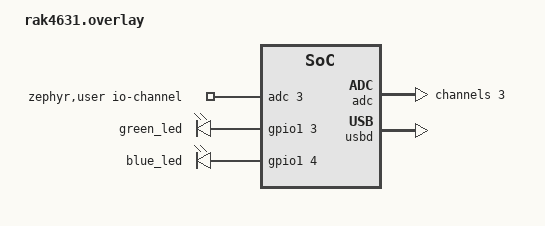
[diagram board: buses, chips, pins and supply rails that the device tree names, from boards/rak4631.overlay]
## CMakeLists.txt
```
cmake_minimum_required(VERSION 3.20.0)

find_package(Zephyr REQUIRED HINTS $ENV{ZEPHYR_BASE})
project(ble_bridge)

target_sources(app PRIVATE
    src/main.c
    src/g7_protocol.c
    src/g7_config.c
    src/g7_shell.c
    src/g7_jpake.c
    src/g7_auth.c
    src/g7_history.c
    src/g7_cgms.c
    src/g7_ui.c
    src/g7_led.c
    src/g7_battery.c
    src/g7_certstore.c
)
```

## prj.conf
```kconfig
# BLE central role: scan for the Dexcom G7 transmitter and connect to it.
CONFIG_BT=y
CONFIG_BT_CENTRAL=y
# Active scanning otherwise uses a fresh random address, and the controller then
# refuses to switch back to ours for advertising to the phone while it scans.
CONFIG_BT_SCAN_WITH_IDENTITY=y
CONFIG_BT_GATT_CLIENT=y
CONFIG_BT_GATT_DM=y

# BLE peripheral role at the same time: standard CGM service (0x181F) for
# xDrip+'s GluPro collector (src/g7_cgms.c). One link to the G7, one to the phone;
# bonds for the sensor and the phone (plus one spare for a sensor change).
CONFIG_BT_PERIPHERAL=y
CONFIG_BT_DEVICE_NAME="G7 Bridge"
CONFIG_BT_MAX_CONN=2
CONFIG_BT_MAX_PAIRED=4
CONFIG_BT_DIS=y
# Maximum radio power of the nRF52840 (+8 dBm, default 0) for every role: the
# phone may be a room or two away while the bridge sits in a pocket by the sensor.
CONFIG_BT_CTLR_TX_PWR_PLUS_8=y
# HCI Read RSSI (range test on the phone page); off by default in the SoftDevice Controller.
CONFIG_BT_CTLR_CONN_RSSI=y
CONFIG_BT_DIS_MODEL="G7 Bridge"
CONFIG_BT_DIS_MANUF="DIY"
# xDrip+ GluPro puts every one of these into a ConcurrentHashMap straight from
# getCharacteristic(); a missing one is a null value and crashes xDrip+. Keep all
# six (manufacturer, model, serial, firmware, hardware, system ID) present.
CONFIG_BT_DIS_SERIAL_NUMBER=y
CONFIG_BT_DIS_SERIAL_NUMBER_STR="0001"
CONFIG_BT_DIS_FW_REV=y
CONFIG_BT_DIS_FW_REV_STR="0.2-dev"
CONFIG_BT_DIS_HW_REV=y
CONFIG_BT_DIS_HW_REV_STR="RAK4631"
CONFIG_BT_DIS_SYSTEM_ID=y

# BLE-level bonding with the G7 is plain "Just Works"; the pairing code is used
# by an app-layer EC-JPAKE on top of GATT instead -- see PROTOCOL_RESEARCH.md 2a.
CONFIG_BT_SMP=y
# Let a phone that lost its bond (xDrip+ reinstalled, "forget device") pair again
# with Just Works instead of being refused with "auth requirements" until the old
# bond is deleted here by hand (`g7 unpair_phone`). Trade-off: a device spoofing
# the phone's address could replace that bond -- acceptable for a Just Works link.
CONFIG_BT_SMP_ALLOW_UNAUTH_OVERWRITE=y
# pairing_accept() in main.c: phones may only bond in the first 10 min after power-on.
CONFIG_BT_SMP_APP_PAIRING_ACCEPT=y
CONFIG_BT_BONDABLE=y

# Persist bonding info (BLE keys) across reboots so we don't have to re-pair with
# the sensor every time the board resets.
CONFIG_FLASH=y
CONFIG_FLASH_PAGE_LAYOUT=y
CONFIG_FLASH_MAP=y
CONFIG_NVS=y
CONFIG_SETTINGS=y
CONFIG_BT_SETTINGS=y

CONFIG_LOG=y
CONFIG_LOG_DEFAULT_LEVEL=3
CONFIG_PRINTK=y

# `g7 set_id`/`get_id`/`clear_id` commands, on the same USB console as the logs.
CONFIG_SHELL=y

CONFIG_MAIN_STACK_SIZE=4096

# bt_gatt_dm (GATT discovery library) allocates its attribute cache from the heap.
CONFIG_HEAP_MEM_POOL_SIZE=4096

# EC-JPAKE (src/g7_jpake.c): P-256 point math, SHA-256 and AES-128 from TinyCrypt,
# which the Bluetooth host already pulls in. ECC_DSA also builds ecc.c and will be
# needed for the certificate-signing step later.
CONFIG_TINYCRYPT=y
CONFIG_TINYCRYPT_ECC_DSA=y
CONFIG_TINYCRYPT_SHA256=y
CONFIG_TINYCRYPT_AES=y

# `g7 jpake_selftest` runs a few seconds of P-256 math on the shell thread.
CONFIG_SHELL_STACK_SIZE=4096

# Room for bursts (a backfill or a phone's history request logs many lines at
# once). For byte-level auth debugging set g7_auth.c to LOG_LEVEL_DBG.
CONFIG_LOG_BUFFER_SIZE=8192
```

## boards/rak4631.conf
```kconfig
# RAK4631: console on the base board's USB port, UF2 for the Adafruit bootloader.
CONFIG_USB_DEVICE_STACK=y
CONFIG_USB_DEVICE_INITIALIZE_AT_BOOT=y
CONFIG_UART_LINE_CTRL=y
CONFIG_USB_CDC_ACM_LOG_LEVEL_OFF=y
CONFIG_BUILD_OUTPUT_UF2=y
CONFIG_USE_DT_CODE_PARTITION=y
# Battery voltage (src/g7_battery.c)
CONFIG_ADC=y
```

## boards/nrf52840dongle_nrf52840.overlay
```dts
/* Status LED colours for src/g7_led.c: the Dongle's RGB LED (LD2); LD1 stays off. */
/ {
	aliases {
		status-red = &led1_red;
		status-green = &led1_green;
		status-blue = &led1_blue;
	};
};
```

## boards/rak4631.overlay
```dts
/*
 * RAK4631 (WisBlock core) on a RAK19007 base, flashed as UF2 through the Adafruit nRF52
 * bootloader it ships with (SoftDevice S140 6.1.1 below the app, bootloader at the top).
 * Logs and the shell go to the base board's USB port, not the header UART.
 * The BLE antenna must be on the module's BLE u.FL connector, not the LoRa one.
 */
#include <zephyr/dt-bindings/adc/nrf-saadc.h>

/ {
	/* Battery for src/g7_battery.c: VBAT -> 1 M / 1.5 M divider -> P0.05 (AIN3). */
	zephyr,user {
		io-channels = <&adc 3>;
		battery-divider-x1000 = <1667>;
	};

	chosen {
		zephyr,console = &cdc_acm_uart;
		zephyr,shell-uart = &cdc_acm_uart;
		zephyr,code-partition = &code_partition;
	};

	/* Status LED for src/g7_led.c: the base board has only green and blue, no red. */
	aliases {
		status-green = &green_led;
		status-blue = &blue_led;
	};
};

&adc {
	#address-cells = <1>;
	#size-cells = <0>;

	channel@3 {
		reg = <3>;
		zephyr,gain = "ADC_GAIN_1_6";
		zephyr,reference = "ADC_REF_INTERNAL";
		/* 600 k source impedance: needs the long acquisition time. */
		zephyr,acquisition-time = <ADC_ACQ_TIME(ADC_ACQ_TIME_MICROSECONDS, 40)>;
		zephyr,input-positive = <NRF_SAADC_AIN3>;
		zephyr,resolution = <12>;
		zephyr,oversampling = <4>;
	};
};

/* Zephyr's board file has them active-low; on the RAK19007 base they light on a high pin. */
&green_led {
	gpios = <&gpio1 3 GPIO_ACTIVE_HIGH>;
};

&blue_led {
	gpios = <&gpio1 4 GPIO_ACTIVE_HIGH>;
};

&flash0 {
	/delete-node/ partitions;

	partitions {
		compatible = "fixed-partitions";
		#address-cells = <1>;
		#size-cells = <1>;

		sd_partition: partition@0 {
			label = "softdevice";
			reg = <0x00000000 0x00026000>;
		};

		code_partition: partition@26000 {
			label = "code_partition";
			reg = <0x00026000 0x000c6000>;
		};

		storage_partition: partition@ec000 {
			label = "storage";
			reg = <0x000ec000 0x00008000>;
		};

		boot_partition: partition@f4000 {
			label = "adafruit_boot";
			reg = <0x000f4000 0x0000c000>;
		};
	};
};

zephyr_udc0: &usbd {
	compatible = "nordic,nrf-usbd";
	status = "okay";

	cdc_acm_uart: cdc-acm-uart {
		compatible = "zephyr,cdc-acm-uart";
	};
};
```

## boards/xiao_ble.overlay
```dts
/* Status LED colours for src/g7_led.c: the XIAO's RGB LED. */
/ {
	aliases {
		status-red = &led0;
		status-green = &led1;
		status-blue = &led2;
	};
};
```

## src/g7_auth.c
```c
/*
 * Dexcom G7 application-layer authentication state machine (see g7_auth.h).
 * State names and transitions follow libkeks' Plugin.java so the two can be
 * compared side by side; comments quote the Java state they correspond to.
 */
#include "g7_auth.h"

#include <errno.h>
#include <string.h>

#include <zephyr/kernel.h>
#include <zephyr/logging/log.h>
#include <zephyr/random/random.h>
#include <zephyr/sys/byteorder.h>

#include "g7_certstore.h"
#include "g7_config.h"
#include "g7_jpake.h"
#include "g7_protocol.h"

LOG_MODULE_REGISTER(g7_auth, LOG_LEVEL_INF);

#define CHUNK_LEN        20
#define CHUNK_GAP_MS     40  /* xDrip+ doNext(): threadSleep(40) between chunks */
#define AFTER_DATA_MS    500 /* ... and threadSleep(500) before the command */
#define STEP_TIMEOUT     K_SECONDS(15)
#define RX_MAX           64

enum state {
	ST_IDLE,
	ST_ROUND1,         /* Round1: sent 0A 00, collecting the sensor's round 1 packet */
	ST_ROUND2,         /* Round2 */
	ST_ROUND3,         /* Round3 */
	ST_REQUEST_AUTH,   /* RequestAuth: sent 02 <token> <slot> */
	ST_CHALLENGE_REPLY,/* ChallengeReply: sent 04 <hash>, waiting for 05 status */
	ST_CERT_INFO_A,    /* SendCertificate1: sent 0B 00 <len>, waiting for 0B reply */
	ST_CERT_DATA_A,    /* SendCertificate1out: sent cert A, collecting the sensor's */
	ST_CERT_INFO_B,    /* SendCertificate2 */
	ST_CERT_DATA_B,    /* SendCertificate2out */
	ST_SIGN_CHALLENGE, /* SendKeyChallenge: sent 0C <16 random>, waiting for its challenge */
	ST_SIGN_REPLY,     /* SendKeyChallengeOut: sent signature + 0D 00 02 */
	ST_KEEPALIVE,      /* GetData/Pairing: sent 06 19, waiting for the bond trigger */
};

enum ev_type {
	EV_START,
	EV_RX_AUTH,
	EV_RX_EXTRA,
	EV_ABORT,
};

struct ev {
	uint8_t type;
	uint8_t len;
	uint8_t data[RX_MAX];
};

/* A 160-byte round packet arrives as 8+ notifications, a certificate as ~25. */
K_MSGQ_DEFINE(auth_q, sizeof(struct ev), 40, 4);

static const struct g7_auth_ops *ops;

static struct {
	enum state st;
	bt_addr_le_t peer;
	bool saved_key;       /* key came from settings, JPAKE skipped */
	bool check_code;      /* ignore any saved key: prove the pairing code */
	bool token_mismatch;  /* sensor's 03 reply did not match our key */
	uint8_t key[G7_JPAKE_KEY_LEN];
	struct g7_jpake jp;
	uint8_t acc[G7_JPAKE_PACKET_LEN];
	size_t acc_len;
	size_t cert_expected;
	size_t cert_rx;
	uint8_t token[G7_CHALLENGE_LEN];
} s;

/* Sensor replies to 06 19 that mean "create the BLE bond now" (Plugin.bondNow). */
static const uint8_t bond_trigger[][3] = {{0x06, 0x19}, {0xff, 0x06, 0x01}, {0x06, 0x00}};
static const uint8_t bond_trigger_len[] = {2, 3, 2};

static const uint8_t keepalive[] = {0x06, 0x19};
static const uint8_t challenge_out[] = {0x0d, 0x00, 0x02};

const char *g7_auth_result_str(enum g7_auth_result result)
{
	switch (result) {
	case G7_AUTH_OK:
		return "authenticated + bonded";
	case G7_AUTH_BOND_NOW:
		return "authenticated, bond requested";
	case G7_AUTH_WRONG_CODE:
		return "wrong pairing code (or an old sensor nearby)";
	case G7_AUTH_NO_CERTS:
		return "sensor needs app certificates, none loaded (setup page)";
	case G7_AUTH_NOT_BONDED:
		return "sensor does not know us -- local bond must go";
	case G7_AUTH_NEEDS_REPAIR:
		return "sensor needs a full re-pair -- dropping our bond";
	default:
		return "protocol error";
	}
}

/* ---- sending -------------------------------------------------------------- */

static int send_extra(const uint8_t *data, size_t len)
{
	for (size_t off = 0; off < len; off += CHUNK_LEN) {
		int err = ops->write_extra(data + off, MIN(CHUNK_LEN, len - off));

		if (err) {
			LOG_ERR("ExtraData write failed (err %d)", err);
			return err;
		}
		k_msleep(CHUNK_GAP_MS);
	}
	k_msleep(AFTER_DATA_MS);
	return 0;
}

static int send_auth(const uint8_t *data, size_t len)
{
	LOG_HEXDUMP_DBG(data, len, "auth tx");

	int err = ops->write_auth(data, len);

	if (err) {
		LOG_ERR("authentication write failed (err %d)", err);
	}
	return err;
}

/* sequencePacket(): optional 160-byte packet on ExtraData, then 0A <round-1>. */
static int send_round(int next_round_param, const uint8_t *pkt)
{
	const uint8_t cmd[] = {0x0a, next_round_param};

	if (pkt) {
		int err = send_extra(pkt, G7_JPAKE_PACKET_LEN);

		if (err) {
			return err;
		}
	}
	return send_auth(cmd, sizeof(cmd));
}

/* AuthRequestTxMessage2: 02 <8-byte token> <slot>. */
static int send_auth_request(void)
{
	uint8_t msg[2 + G7_CHALLENGE_LEN];

	sys_csrand_get(s.token, sizeof(s.token));
	msg[0] = 0x02;
	memcpy(msg + 1, s.token, sizeof(s.token));
	/* Always slot 2, as Juggluco does. xDrip+ can switch to 1 once bonded
	 * (needsBonding()), but a bonded G7 drops the link on that (2026-09-28).
	 */
	msg[1 + G7_CHALLENGE_LEN] = 0x02;
	return send_auth(msg, sizeof(msg));
}

/* ---- finishing ------------------------------------------------------------ */

static void finish(enum g7_auth_result result)
{
	if (s.st == ST_IDLE) {
		return;
	}
	LOG_INF("Authentication finished: %s", g7_auth_result_str(result));
	s.st = ST_IDLE;
	memset(&s.jp, 0, sizeof(s.jp));
	ops->finished(result);
}

static void save_key(void)
{
	if (!s.saved_key) {
		int err = g7_config_set_key(&s.peer, s.key);

		if (err) {
			LOG_WRN("Could not persist session key (err %d)", err);
		} else {
			s.saved_key = true;
		}
	}
}

/* ---- JPAKE rounds (ExtraData) ---------------------------------------------- */

static void on_round_packet(int round)
{
	static uint8_t pkt[G7_JPAKE_PACKET_LEN];
	int err = g7_jpake_read_round(&s.jp, round, s.acc);

	s.acc_len = 0;
	if (err) {
		LOG_ERR("Sensor's round %d proof rejected (err %d)", round, err);
		finish(G7_AUTH_ERROR);
		return;
	}
	LOG_INF("Sensor's round %d accepted", round);

	err = g7_jpake_write_round(&s.jp, round, NULL, pkt);
	if (err) {
		LOG_ERR("Building our round %d failed (err %d)", round, err);
		finish(G7_AUTH_ERROR);
		return;
	}

	if (round < 3) {
		err = send_round(round, pkt);
		s.st = round == 1 ? ST_ROUND2 : ST_ROUND3;
	} else {
		err = g7_jpake_derive_key(&s.jp, s.key);
		if (!err) {
			LOG_INF("EC-JPAKE complete, session key derived");
			err = send_extra(pkt, sizeof(pkt));
		}
		if (!err) {
			err = send_auth_request();
			s.st = ST_REQUEST_AUTH;
		}
	}
	if (err) {
		finish(G7_AUTH_ERROR);
	}
}

static void on_extra(const uint8_t *data, size_t len)
{
	LOG_HEXDUMP_DBG(data, len, "extra rx");

	switch (s.st) {
	case ST_ROUND1:
	case ST_ROUND2:
	case ST_ROUND3: {
		size_t n = MIN(len, sizeof(s.acc) - s.acc_len);

		memcpy(s.acc + s.acc_len, data, n);
		s.acc_len += n;
		if (s.acc_len == sizeof(s.acc)) {
			on_round_packet(s.st - ST_ROUND1 + 1);
		}
		break;
	}
	case ST_CERT_INFO_A:
	case ST_CERT_INFO_B:
		/* libkeks keeps accumulating here (dontClearAccumulator). */
		s.cert_rx += len;
		break;
	case ST_CERT_DATA_A:
	case ST_CERT_DATA_B:
		s.cert_rx += len;
		if (s.cert_rx < s.cert_expected) {
			break;
		}
		LOG_INF("Received sensor certificate %c (%zu bytes)",
			s.st == ST_CERT_DATA_A ? 'A' : 'B', s.cert_rx);
		s.cert_rx = 0;
		if (s.st == ST_CERT_DATA_A) {
			uint8_t msg[6] = {0x0b, 0x01};
			size_t b_len;

			g7_certs_b(&b_len);
			sys_put_le32(b_len, msg + 2);
			s.st = ST_CERT_INFO_B;
			if (send_auth(msg, sizeof(msg))) {
				finish(G7_AUTH_ERROR);
			}
		} else {
			uint8_t msg[17] = {0x0c};

			sys_csrand_get(msg + 1, 16);
			s.st = ST_SIGN_CHALLENGE;
			if (send_auth(msg, sizeof(msg))) {
				finish(G7_AUTH_ERROR);
			}
		}
		break;
	default:
		/* e.g. the sensor's 64-byte signature during SendKeyChallenge; unused. */
		break;
	}
}

/* ---- authentication indications -------------------------------------------- */

int g7_auth_cert_selftest(void)
{
	return g7_certs_selftest();
}

static void start_cert_exchange(void)
{
	uint8_t msg[6] = {0x0b, 0x00};
	size_t a_len;

	g7_certs_a(&a_len);
	sys_put_le32(a_len, msg + 2);
	s.cert_rx = 0;
	s.st = ST_CERT_INFO_A;
	if (send_auth(msg, sizeof(msg))) {
		finish(G7_AUTH_ERROR);
	}
}

/* CertInfoRxMessage: 0B <state> <which> <size16 LE> .. (7 bytes). */
static void on_cert_info(const uint8_t *data, size_t len)
{
	if (len != 7 || data[0] != 0x0b || data[1] != 0 || sys_get_le16(data + 3) == 0) {
		LOG_ERR("Sensor rejected certificate %c", s.st == ST_CERT_INFO_A ? 'A' : 'B');
		finish(G7_AUTH_ERROR);
		return;
	}
	s.cert_expected = sys_get_le16(data + 3);

	bool a = s.st == ST_CERT_INFO_A;
	size_t cert_len;
	const uint8_t *cert = a ? g7_certs_a(&cert_len) : g7_certs_b(&cert_len);

	LOG_INF("Sending certificate %c, sensor's is %zu bytes", a ? 'A' : 'B', s.cert_expected);
	s.st = a ? ST_CERT_DATA_A : ST_CERT_DATA_B;
	if (send_extra(cert, cert_len)) {
		finish(G7_AUTH_ERROR);
	}
}

static void on_auth_status(const uint8_t *data, size_t len)
{
	struct g7_auth_status st;

	if (len < 3 || data[0] != G7_OP_AUTH_CHALLENGE_RX) {
		LOG_ERR("Expected auth status, got opcode 0x%02x", len ? data[0] : 0);
		finish(G7_AUTH_ERROR);
		return;
	}
	st.authenticated = data[1] == 1;
	st.bonded = data[2] == 1;
	LOG_INF("Auth status: authenticated=%u bonded=%u", data[1], data[2]);

	if (s.token_mismatch) {
		if (!st.authenticated) {
			/* Our saved key is no longer the sensor's. */
			g7_config_clear_key();
			finish(st.bonded ? G7_AUTH_NEEDS_REPAIR : G7_AUTH_WRONG_CODE);
			return;
		}
		LOG_ERR("Sensor accepted us although its token hash did not match -- "
			"our token check is wrong, continuing");
	}

	if (data[2] == 3 || !st.authenticated) {
		/* needsRefresh() / failed: next connection redoes EC-JPAKE. */
		g7_config_clear_key();
	}
	if (!st.authenticated) {
		finish(st.bonded ? G7_AUTH_ERROR : G7_AUTH_NOT_BONDED);
		return;
	}

	if (st.bonded && !s.saved_key) {
		/* Seen live: a bonded G7 accepts a fresh EC-JPAKE for this link only,
		 * rejects the new key next time and drops the link before any data.
		 * Only the full pairing path makes it keep a key.
		 */
		finish(G7_AUTH_NEEDS_REPAIR);
		return;
	}

	save_key();
	if (st.bonded) {
		finish(G7_AUTH_OK);
	} else if (strlen(g7_config_get_code()) > 4) {
		/* Pairing: 6-digit codes skip the certificate exchange. */
		s.st = ST_KEEPALIVE;
		if (send_auth(keepalive, sizeof(keepalive))) {
			finish(G7_AUTH_ERROR);
		}
	} else if (g7_certs_source() == G7_CERTS_NONE) {
		finish(G7_AUTH_NO_CERTS);
	} else {
		start_cert_exchange();
	}
}

static bool is_bond_trigger(const uint8_t *data, size_t len)
{
	for (size_t i = 0; i < ARRAY_SIZE(bond_trigger); i++) {
		if (len == bond_trigger_len[i] && memcmp(data, bond_trigger[i], len) == 0) {
			return true;
		}
	}
	return false;
}

static void on_auth(const uint8_t *data, size_t len)
{
	uint8_t msg[1 + G7_CHALLENGE_LEN];

	LOG_HEXDUMP_DBG(data, len, "auth rx");

	if (is_bond_trigger(data, len)) {
		save_key();
		finish(G7_AUTH_BOND_NOW);
		return;
	}

	switch (s.st) {
	case ST_REQUEST_AUTH:
		/* 03 <hash of our token, 8> <sensor challenge, 8> */
		if (len < 17 || data[0] != 0x03) {
			LOG_ERR("Unexpected AuthRequest reply (%zu bytes)", len);
			finish(G7_AUTH_ERROR);
			return;
		}
		g7_challenge_hash(s.key, s.token, msg);
		s.token_mismatch = memcmp(msg, data + 1, G7_CHALLENGE_LEN) != 0;
		if (s.token_mismatch) {
			if (!s.saved_key) {
				/* libkeks "Mismatch - wait": wrong code, or another sensor
				 * (or one still held by another app). Stop right here.
				 */
				finish(G7_AUTH_WRONG_CODE);
				return;
			}
			/* libkeks does not check this with a saved key; the 05 status
			 * will tell (on_auth_status()).
			 */
			LOG_WRN("Sensor's token hash does not match the saved key");
		}
		msg[0] = 0x04;
		g7_challenge_hash(s.key, data + 9, msg + 1);
		s.st = ST_CHALLENGE_REPLY;
		if (send_auth(msg, sizeof(msg))) {
			finish(G7_AUTH_ERROR);
		}
		break;

	case ST_CHALLENGE_REPLY:
		on_auth_status(data, len);
		break;

	case ST_CERT_INFO_A:
	case ST_CERT_INFO_B:
		on_cert_info(data, len);
		break;

	case ST_SIGN_CHALLENGE: {
		static uint8_t sig[64];

		/* 0C <status> <16-byte challenge> */
		if (len < 18 || data[1] != 0) {
			LOG_ERR("Sensor rejected our key challenge");
			finish(G7_AUTH_ERROR);
			return;
		}
		if (g7_certs_sign(data + 2, sig)) {
			finish(G7_AUTH_ERROR);
			return;
		}
		LOG_INF("Signed sensor challenge");
		s.st = ST_SIGN_REPLY;
		if (send_extra(sig, sizeof(sig)) || send_auth(challenge_out, sizeof(challenge_out))) {
			finish(G7_AUTH_ERROR);
		}
		break;
	}

	case ST_SIGN_REPLY:
		s.st = ST_KEEPALIVE;
		if (send_auth(keepalive, sizeof(keepalive))) {
			finish(G7_AUTH_ERROR);
		}
		break;

	default:
		/* Acks to 0A xx during the rounds etc. carry nothing we need. */
		break;
	}
}

/* ---- thread ------------------------------------------------------------------ */

static void start(void)
{
	s.acc_len = 0;
	s.token_mismatch = false;
	s.saved_key = !s.check_code && g7_config_get_key(&s.peer, s.key);

	if (s.saved_key) {
		LOG_INF("Using saved session key, skipping EC-JPAKE");
		s.st = ST_REQUEST_AUTH;
		if (send_auth_request()) {
			finish(G7_AUTH_ERROR);
		}
		return;
	}

	int err = g7_jpake_init(&s.jp, g7_config_get_code());

	if (err) {
		LOG_ERR("EC-JPAKE init failed (err %d)", err);
		s.st = ST_ROUND1; /* so finish() reports it */
		finish(G7_AUTH_ERROR);
		return;
	}
	LOG_INF("Starting EC-JPAKE with pairing code");
	s.st = ST_ROUND1;
	if (send_round(0, NULL)) {
		finish(G7_AUTH_ERROR);
	}
}

static void auth_thread(void *p1, void *p2, void *p3)
{
	struct ev ev;

	for (;;) {
		k_timeout_t wait = s.st == ST_IDLE ? K_FOREVER : STEP_TIMEOUT;

		int rc = k_msgq_get(&auth_q, &ev, wait);

		if (rc == -EAGAIN) {
			LOG_ERR("Timed out waiting for the sensor (state %d)", s.st);
			finish(G7_AUTH_ERROR);
			continue;
		}
		if (rc) {
			continue; /* -ENOMSG: queue purged by g7_auth_abort() */
		}

		switch (ev.type) {
		case EV_START:
			start();
			break;
		case EV_RX_AUTH:
			if (s.st != ST_IDLE) {
				on_auth(ev.data, ev.len);
			}
			break;
		case EV_RX_EXTRA:
			if (s.st != ST_IDLE) {
				on_extra(ev.data, ev.len);
			}
			break;
		case EV_ABORT:
			s.st = ST_IDLE;
			memset(&s.jp, 0, sizeof(s.jp));
			break;
		}
	}
}

K_THREAD_DEFINE(g7_auth_tid, 3072, auth_thread, NULL, NULL, NULL, 7, 0, 0);

/* ---- entry points (any context) ------------------------------------------- */

static void post(enum ev_type type, const uint8_t *data, size_t len)
{
	struct ev ev = {.type = type, .len = MIN(len, RX_MAX)};

	if (data) {
		memcpy(ev.data, data, ev.len);
	}
	if (k_msgq_put(&auth_q, &ev, K_NO_WAIT)) {
		LOG_ERR("Auth queue full, dropped event %d", type);
	}
}

void g7_auth_init(const struct g7_auth_ops *auth_ops)
{
	ops = auth_ops;
}

int g7_auth_begin(const bt_addr_le_t *peer, bool check_code)
{
	const char *code = g7_config_get_code();

	if (strlen(code) != 4 && strlen(code) != 6) {
		LOG_ERR("No pairing code configured (see `g7 set_code`)");
		return -EINVAL;
	}

	/* Written before EV_START is queued; the thread only reads them after. */
	bt_addr_le_copy(&s.peer, peer);
	s.check_code = check_code;
	post(EV_START, NULL, 0);
	return 0;
}

void g7_auth_rx_auth(const uint8_t *data, size_t len)
{
	post(EV_RX_AUTH, data, len);
}

void g7_auth_rx_extra(const uint8_t *data, size_t len)
{
	post(EV_RX_EXTRA, data, len);
}

void g7_auth_abort(void)
{
	k_msgq_purge(&auth_q);
	post(EV_ABORT, NULL, 0);
}
```

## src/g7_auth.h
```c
/*
 * Dexcom G7 application-layer authentication, driven over GATT. Mirrors the
 * state machine of xDrip+'s libkeks Plugin.aNext()/receivedResponse()/
 * receivedData() -- see ../PROTOCOL_RESEARCH.md section 2a:
 *
 *   EC-JPAKE (3 rounds, only without a saved key) -> AuthRequest 02 ->
 *   challenge 04 -> status 05 -> [certificate exchange 0B/0C/0D, first pairing
 *   of a 4-digit sensor only] -> keepalive 06 19 -> sensor echoes -> BLE bond.
 *
 * All crypto (up to ~0.5 s per step) runs on this module's own thread, never
 * in the Bluetooth RX context; the rx_* entry points only queue the bytes.
 */
#ifndef G7_AUTH_H_
#define G7_AUTH_H_

#include <stdbool.h>
#include <stddef.h>
#include <stdint.h>

#include <zephyr/bluetooth/addr.h>

enum g7_auth_result {
	/* Sensor reports authenticated + bonded: go read data. */
	G7_AUTH_OK,
	/* Authenticated, sensor asked for BLE bonding: pair now, then read data. */
	G7_AUTH_BOND_NOW,
	/* Sensor's proof/challenge did not match: wrong pairing code (or old sensor nearby). */
	G7_AUTH_WRONG_CODE,
	/* Sensor needs the app certificates, but this build has none (g7_certs.h). */
	G7_AUTH_NO_CERTS,
	/* Sensor says we are neither authenticated nor bonded: drop our local bond. */
	G7_AUTH_NOT_BONDED,
	/*
	 * The code fits, but the sensor is bonded to us and will not keep a new
	 * session key (it rejected our saved one, or we only have a fresh EC-JPAKE
	 * key on a bonded link). Drop our bond so the next connection goes through
	 * the full pairing (certificates, bond), which the sensor does remember.
	 */
	G7_AUTH_NEEDS_REPAIR,
	/* Protocol error, unexpected reply or timeout. */
	G7_AUTH_ERROR,
};

struct g7_auth_ops {
	/* Write to the `authentication` characteristic (with response). Blocking is fine. */
	int (*write_auth)(const uint8_t *data, size_t len);
	/* Write one <= 20-byte chunk to `ExtraData` (without response). */
	int (*write_extra)(const uint8_t *data, size_t len);
	/* Called once from the auth thread when the exchange ends. */
	void (*finished)(enum g7_auth_result result);
};

void g7_auth_init(const struct g7_auth_ops *ops);

/*
 * Starts authenticating with `peer` using the configured pairing code. Call once
 * `ExtraData` notifications and `authentication` indications are enabled.
 * With `check_code`, a saved session key is ignored and EC-JPAKE runs, so the
 * result says whether the pairing code fits this sensor (search by code).
 */
int g7_auth_begin(const bt_addr_le_t *peer, bool check_code);

/* Feed incoming `authentication` indications / `ExtraData` notifications. */
void g7_auth_rx_auth(const uint8_t *data, size_t len);
void g7_auth_rx_extra(const uint8_t *data, size_t len);

/* Drop any exchange in progress (e.g. on disconnect). */
void g7_auth_abort(void);

const char *g7_auth_result_str(enum g7_auth_result result);

/*
 * Checks the built-in app certificates: signing key matches certificate B and
 * a test signature verifies. Returns -ENOENT if this build has no g7_certs.h.
 */
int g7_auth_cert_selftest(void);

#endif /* G7_AUTH_H_ */
```

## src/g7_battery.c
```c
/*
 * Battery voltage and charge estimate for boards that wire VBAT to an ADC input
 * through a divider (RAK19007: 1 M / 1.5 M to P0.05 = AIN3, see boards/rak4631.overlay).
 * Boards without the `zephyr,user` io-channels property report no battery.
 */
#include <zephyr/devicetree.h>
#include <zephyr/kernel.h>
#include <zephyr/logging/log.h>
#include <hal/nrf_power.h>

#include "g7_battery.h"

LOG_MODULE_REGISTER(g7_battery, LOG_LEVEL_INF);

#define BATT_NODE DT_PATH(zephyr_user)

#if IS_ENABLED(CONFIG_ADC) && DT_NODE_HAS_PROP(BATT_NODE, io_channels)
#include <zephyr/drivers/adc.h>

/* Divider ratio (R1 + R2) / R2, times 1000. */
#define DIVIDER_X1000  DT_PROP_OR(BATT_NODE, battery_divider_x1000, 1667)
#define SAMPLE_PERIOD  K_SECONDS(30)
#define SAMPLES        8

static const struct adc_dt_spec adc = ADC_DT_SPEC_GET(BATT_NODE);
static int vbat_mv = -1;

/* Resting LiPo voltage -> charge, rough but monotonic. */
static const struct {
	uint16_t mv;
	uint8_t pct;
} curve[] = {
	{4200, 100}, {4100, 90}, {4000, 80}, {3900, 65}, {3800, 50},
	{3700, 30},  {3600, 15}, {3500, 7},  {3400, 3},  {3300, 0},
};

static int mv_to_pct(int mv)
{
	if (mv >= curve[0].mv) {
		return 100;
	}
	for (size_t i = 1; i < ARRAY_SIZE(curve); i++) {
		if (mv >= curve[i].mv) {
			int span = curve[i - 1].mv - curve[i].mv;

			return curve[i].pct +
			       (mv - curve[i].mv) * (curve[i - 1].pct - curve[i].pct) / span;
		}
	}
	return 0;
}

static void sample(struct k_work *work);
static K_WORK_DELAYABLE_DEFINE(sample_work, sample);

static void sample(struct k_work *work)
{
	int16_t raw;
	struct adc_sequence seq = {
		.buffer = &raw,
		.buffer_size = sizeof(raw),
	};
	int32_t sum = 0;
	int n = 0;

	adc_sequence_init_dt(&adc, &seq);
	for (int i = 0; i < SAMPLES; i++) {
		int32_t mv;

		if (adc_read_dt(&adc, &seq) == 0) {
			mv = raw;
			if (adc_raw_to_millivolts_dt(&adc, &mv) == 0) {
				sum += mv;
				n++;
			}
		}
	}
	if (n) {
		int mv = sum / n * DIVIDER_X1000 / 1000;

		/* Light smoothing: radio bursts pull the cell down for a moment. */
		vbat_mv = vbat_mv < 0 ? mv : (vbat_mv * 3 + mv) / 4;
	}
	k_work_schedule(&sample_work, SAMPLE_PERIOD);
}

static int battery_init(void)
{
	if (!adc_is_ready_dt(&adc) || adc_channel_setup_dt(&adc)) {
		LOG_ERR("Battery ADC not available");
		return 0;
	}
	k_work_schedule(&sample_work, K_SECONDS(2));
	return 0;
}

SYS_INIT(battery_init, APPLICATION, 90);

bool g7_battery_get(struct g7_battery *b)
{
	if (vbat_mv < 0) {
		return false;
	}
	b->mv = vbat_mv;
	b->pct = mv_to_pct(vbat_mv);
	b->usb = nrf_power_usbregstatus_vbusdet_get(NRF_POWER);
	return true;
}

#else

bool g7_battery_get(struct g7_battery *b)
{
	ARG_UNUSED(b);
	return false;
}

#endif
```

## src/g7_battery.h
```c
#ifndef G7_BATTERY_H_
#define G7_BATTERY_H_

#include <stdbool.h>
#include <stdint.h>

struct g7_battery {
	uint16_t mv;   /* cell voltage */
	uint8_t pct;   /* rough charge estimate from the voltage */
	bool usb;      /* USB power present (charging, or no battery at all) */
};

/* False on boards without a battery measurement, or before the first sample. */
bool g7_battery_get(struct g7_battery *b);

#endif /* G7_BATTERY_H_ */
```

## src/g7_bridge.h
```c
/*
 * What the bridge's sensor side (main.c) exposes to the configuration UI
 * (g7_ui.c): a status snapshot, and starting the search for a new sensor.
 */
#ifndef G7_BRIDGE_H_
#define G7_BRIDGE_H_

#include <stdbool.h>
#include <stddef.h>
#include <stdint.h>

#define G7_BRIDGE_MAX_SEEN 6

struct g7_seen_sensor {
	char name[9];         /* e.g. "DXCMab", "DX04ab" */
	int8_t rssi;
	uint16_t seen_s_ago;
	bool tried;           /* the current pairing code did not fit it */
	bool paired;          /* the sensor we are using */
};

struct g7_bridge_status {
	bool searching;               /* trying unknown sensors with the pairing code */
	uint16_t search_left_s;
	bool have_reading;
	uint16_t mgdl;                /* last reading from the sensor, forwarded or not */
	uint8_t state;                /* its G7 algorithm state */
	int8_t trend_tenths;
	bool trend_valid;
	uint32_t reading_age_s;
	size_t n_seen;
	struct g7_seen_sensor seen[G7_BRIDGE_MAX_SEEN];
};

void g7_bridge_get_status(struct g7_bridge_status *st);

/*
 * With a pairing code set and no sensor id, try each G7 in range once until
 * the code fits one (then its name becomes the sensor id). Runs for 30 min.
 */
void g7_bridge_start_search(void);

/*
 * Drops our bond and session key with the configured sensor so the next
 * connection does a full pairing. Returns how many bonds were removed (0 if the
 * sensor has not been seen since boot).
 */
int g7_bridge_repair_sensor(void);

/*
 * Lets go of the sensor so xDrip+ or the Dexcom app can take it over: drops the link and
 * forgets the sensor id and pairing code (kept in flash), so the bridge connects to no G7 until
 * a code is set again. The bond and session key stay; the usual checks sort them out then.
 */
void g7_bridge_release_sensor(void);

/*
 * New phones may pair for 10 minutes after power-on, after plugging in USB power, and after
 * "unpair_phone". Opens that window now; the other returns the seconds left (0 = closed).
 */
void g7_bridge_open_phone_pairing(void);
uint16_t g7_bridge_phone_pairing_left_s(void);

#endif /* G7_BRIDGE_H_ */
```

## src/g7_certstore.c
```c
#include "g7_certstore.h"

#include <errno.h>
#include <string.h>

#include <zephyr/kernel.h>
#include <zephyr/logging/log.h>
#include <zephyr/random/random.h>
#include <zephyr/settings/settings.h>

#include <tinycrypt/ecc.h>
#include <tinycrypt/ecc_dsa.h>
#include <tinycrypt/sha256.h>

#if __has_include("g7_certs.h")
/* Private builds only: generated by tools/make_g7_certs.py. */
#include "g7_certs.h"
#define HAVE_BUILTIN 1
#else
#define HAVE_BUILTIN 0
#endif

LOG_MODULE_REGISTER(g7_certstore, LOG_LEVEL_INF);

#define KEY_LEN 32
/* libkeks rejects shorter certificates. */
#define CERT_MIN_LEN 101

static struct {
	uint8_t a[G7_CERT_MAX_LEN];
	uint8_t b[G7_CERT_MAX_LEN];
	uint8_t key[KEY_LEN];
	size_t a_len, b_len;
	bool valid;
} stored;

/* Upload in progress; parts may arrive in any order. */
static struct {
	uint8_t a[G7_CERT_MAX_LEN];
	uint8_t b[G7_CERT_MAX_LEN];
	uint8_t key[G7_CERT_KEY_MAX_LEN];
	size_t a_len, b_len, key_len;
} staged;

static K_MUTEX_DEFINE(lock);

/* TinyCrypt's ecc.c defaults its RNG to this, but Zephyr does not build the
 * platform file that normally provides it. uECC_sign() needs it for its nonce.
 */
int default_CSPRNG(uint8_t *dest, unsigned int size)
{
	return sys_csrand_get(dest, size) == 0;
}

/* ---- settings ----------------------------------------------------------------- */

static int load_part(uint8_t *dst, size_t max, size_t *out_len, size_t len,
		     settings_read_cb read_cb, void *cb_arg)
{
	if (len > max) {
		return -EINVAL;
	}

	ssize_t rc = read_cb(cb_arg, dst, len);

	if (rc < 0) {
		return rc;
	}
	*out_len = rc;
	return 0;
}

static size_t loaded_key_len;

static int g7cert_set(const char *name, size_t len, settings_read_cb read_cb, void *cb_arg)
{
	const char *next;

	if (settings_name_steq(name, "a", &next) && !next) {
		return load_part(stored.a, sizeof(stored.a), &stored.a_len, len, read_cb, cb_arg);
	}
	if (settings_name_steq(name, "b", &next) && !next) {
		return load_part(stored.b, sizeof(stored.b), &stored.b_len, len, read_cb, cb_arg);
	}
	if (settings_name_steq(name, "k", &next) && !next) {
		return load_part(stored.key, sizeof(stored.key), &loaded_key_len, len, read_cb,
				 cb_arg);
	}
	return -ENOENT;
}

static int g7cert_commit_loaded(void)
{
	stored.valid = stored.a_len >= CERT_MIN_LEN && stored.b_len >= CERT_MIN_LEN &&
		       loaded_key_len == KEY_LEN;
	return 0;
}

SETTINGS_STATIC_HANDLER_DEFINE(g7cert, "g7cert", NULL, g7cert_set, g7cert_commit_loaded, NULL);

/* ---- access ------------------------------------------------------------------- */

enum g7_cert_source g7_certs_source(void)
{
	if (stored.valid) {
		return G7_CERTS_STORED;
	}
	return HAVE_BUILTIN ? G7_CERTS_BUILTIN : G7_CERTS_NONE;
}

const uint8_t *g7_certs_a(size_t *len)
{
#if HAVE_BUILTIN
	if (!stored.valid) {
		*len = sizeof(g7_cert_a);
		return g7_cert_a;
	}
#endif
	*len = stored.a_len;
	return stored.a;
}

const uint8_t *g7_certs_b(size_t *len)
{
#if HAVE_BUILTIN
	if (!stored.valid) {
		*len = sizeof(g7_cert_b);
		return g7_cert_b;
	}
#endif
	*len = stored.b_len;
	return stored.b;
}

const uint8_t *g7_certs_key(void)
{
#if HAVE_BUILTIN
	if (!stored.valid) {
		return g7_cert_key;
	}
#endif
	return stored.key;
}

/* ---- crypto ------------------------------------------------------------------- */

static void sha256(const uint8_t *data, size_t len, uint8_t digest[TC_SHA256_DIGEST_SIZE])
{
	struct tc_sha256_state_struct st;

	tc_sha256_init(&st);
	tc_sha256_update(&st, data, len);
	tc_sha256_final(digest, &st);
}

int g7_certs_sign(const uint8_t chal[16], uint8_t sig[64])
{
	uint8_t digest[TC_SHA256_DIGEST_SIZE];

	sha256(chal, 16, digest);
	return uECC_sign(g7_certs_key(), digest, sizeof(digest), sig, uECC_secp256r1()) ? 0 : -EIO;
}

/* The uncompressed public key (04 || X || Y) appears verbatim in certificate B. */
static bool key_matches_cert(const uint8_t key[KEY_LEN], const uint8_t *cert, size_t cert_len)
{
	uint8_t pub[65] = {0x04};

	if (!uECC_compute_public_key(key, pub + 1, uECC_secp256r1())) {
		return false;
	}
	for (size_t i = 0; i + sizeof(pub) <= cert_len; i++) {
		if (memcmp(cert + i, pub, sizeof(pub)) == 0) {
			return true;
		}
	}
	return false;
}

int g7_certs_selftest(void)
{
	size_t a_len, b_len;
	const uint8_t *b;
	uint8_t pub[64], chal[16], sig[64], digest[TC_SHA256_DIGEST_SIZE];

	if (g7_certs_source() == G7_CERTS_NONE) {
		LOG_ERR("No certificates loaded");
		return -ENOENT;
	}
	g7_certs_a(&a_len);
	b = g7_certs_b(&b_len);
	if (!key_matches_cert(g7_certs_key(), b, b_len)) {
		LOG_ERR("Signing key does not match certificate B");
		return -EFAULT;
	}

	sys_csrand_get(chal, sizeof(chal));
	int64_t t0 = k_uptime_get();

	if (g7_certs_sign(chal, sig)) {
		LOG_ERR("uECC_sign failed");
		return -EIO;
	}
	LOG_INF("Signed a test challenge in %lld ms", k_uptime_get() - t0);

	sha256(chal, sizeof(chal), digest);
	uECC_compute_public_key(g7_certs_key(), pub, uECC_secp256r1());
	if (!uECC_verify(pub, digest, sizeof(digest), sig, uECC_secp256r1())) {
		LOG_ERR("Signature does not verify");
		return -EFAULT;
	}
	LOG_INF("Certificates (%s): A %zu B, B %zu B, key matches, signature verifies",
		g7_certs_source() == G7_CERTS_STORED ? "stored" : "built in", a_len, b_len);
	return 0;
}

/* ---- upload ------------------------------------------------------------------- */

int g7_certs_stage(enum g7_cert_part part, size_t offset, const uint8_t *data, size_t len)
{
	uint8_t *buf;
	size_t max, *fill;

	switch (part) {
	case G7_CERT_PART_A:
		buf = staged.a, max = sizeof(staged.a), fill = &staged.a_len;
		break;
	case G7_CERT_PART_B:
		buf = staged.b, max = sizeof(staged.b), fill = &staged.b_len;
		break;
	case G7_CERT_PART_KEY:
		buf = staged.key, max = sizeof(staged.key), fill = &staged.key_len;
		break;
	default:
		return -EINVAL;
	}
	if (offset > max || len > max - offset) {
		return -ENOMEM;
	}

	k_mutex_lock(&lock, K_FOREVER);
	if (offset == 0) {
		*fill = 0;
	}
	if (offset != *fill) {
		/* Chunks must arrive in order. */
		k_mutex_unlock(&lock);
		return -EINVAL;
	}
	memcpy(buf + offset, data, len);
	*fill = offset + len;
	k_mutex_unlock(&lock);
	return 0;
}

/* keks_p3 is a PKCS#8 EC key; its ECPrivateKey holds `02 01 01 04 20 <32 bytes>`. */
static bool extract_scalar(const uint8_t *der, size_t len, uint8_t out[KEY_LEN])
{
	static const uint8_t marker[] = {0x02, 0x01, 0x01, 0x04, 0x20};

	if (len == KEY_LEN) {
		memcpy(out, der, KEY_LEN);
		return true;
	}
	for (size_t i = 0; i + sizeof(marker) + KEY_LEN <= len; i++) {
		if (memcmp(der + i, marker, sizeof(marker)) == 0) {
			memcpy(out, der + i + sizeof(marker), KEY_LEN);
			return true;
		}
	}
	return false;
}

int g7_certs_commit(void)
{
	uint8_t key[KEY_LEN];
	int err;

	k_mutex_lock(&lock, K_FOREVER);
	if (staged.a_len < CERT_MIN_LEN || staged.b_len < CERT_MIN_LEN ||
	    !extract_scalar(staged.key, staged.key_len, key)) {
		k_mutex_unlock(&lock);
		LOG_WRN("Certificate upload incomplete (A %zu, B %zu, key %zu bytes)",
			staged.a_len, staged.b_len, staged.key_len);
		return -EINVAL;
	}
	if (!key_matches_cert(key, staged.b, staged.b_len)) {
		k_mutex_unlock(&lock);
		LOG_WRN("Uploaded key does not match certificate B");
		return -EBADMSG;
	}

	err = settings_save_one("g7cert/a", staged.a, staged.a_len) ?:
	      settings_save_one("g7cert/b", staged.b, staged.b_len) ?:
	      settings_save_one("g7cert/k", key, KEY_LEN);
	if (!err) {
		memcpy(stored.a, staged.a, staged.a_len);
		memcpy(stored.b, staged.b, staged.b_len);
		memcpy(stored.key, key, KEY_LEN);
		stored.a_len = staged.a_len;
		stored.b_len = staged.b_len;
		stored.valid = true;
	}
	memset(&staged, 0, sizeof(staged));
	k_mutex_unlock(&lock);

	if (err) {
		LOG_ERR("Saving certificates failed (err %d)", err);
	} else {
		LOG_INF("Certificates saved (A %zu B, B %zu B)", stored.a_len, stored.b_len);
	}
	return err;
}

int g7_certs_clear(void)
{
	k_mutex_lock(&lock, K_FOREVER);
	memset(&stored, 0, sizeof(stored));
	memset(&staged, 0, sizeof(staged));
	k_mutex_unlock(&lock);

	int err = settings_delete("g7cert/a") ?: settings_delete("g7cert/b") ?:
		  settings_delete("g7cert/k");

	LOG_INF("Stored certificates removed");
	return err;
}
```

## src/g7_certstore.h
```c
/*
 * The app certificates and signing key a 4-digit G7 asks for on its first
 * pairing (xDrip+'s keks_p1..p3 from the setup QR code).
 *
 * They are loaded at run time -- written by the setup page over Bluetooth and
 * kept in flash -- so a published firmware image carries no key. A private
 * build may still compile them in (src/g7_certs.h from tools/make_g7_certs.py);
 * stored ones take precedence.
 */
#ifndef G7_CERTSTORE_H_
#define G7_CERTSTORE_H_

#include <stdbool.h>
#include <stddef.h>
#include <stdint.h>

#define G7_CERT_MAX_LEN     700 /* certificate A / B (seen: 494 / 465 bytes) */
#define G7_CERT_KEY_MAX_LEN 200 /* keks_p3: PKCS#8 DER, or the raw 32-byte scalar */

enum g7_cert_part {
	G7_CERT_PART_A = 1,   /* keks_p1 */
	G7_CERT_PART_B = 2,   /* keks_p2, the leaf certificate of the key */
	G7_CERT_PART_KEY = 3, /* keks_p3 */
};

enum g7_cert_source {
	G7_CERTS_NONE,
	G7_CERTS_STORED,  /* loaded over Bluetooth, in flash */
	G7_CERTS_BUILTIN, /* compiled in from g7_certs.h */
};

enum g7_cert_source g7_certs_source(void);

/* Valid only while g7_certs_source() != G7_CERTS_NONE. */
const uint8_t *g7_certs_a(size_t *len);
const uint8_t *g7_certs_b(size_t *len);
const uint8_t *g7_certs_key(void); /* 32-byte P-256 scalar */

/* Upload: write the parts in chunks, then commit (validates and saves). */
int g7_certs_stage(enum g7_cert_part part, size_t offset, const uint8_t *data, size_t len);
/* -EINVAL: incomplete or malformed; -EBADMSG: key does not match certificate B. */
int g7_certs_commit(void);
int g7_certs_clear(void);

/* Key matches certificate B and a test signature verifies. */
int g7_certs_selftest(void);

/* SHA256withECDSA of `chal` (16 bytes) with the key, r || s. */
int g7_certs_sign(const uint8_t chal[16], uint8_t sig[64]);

#endif /* G7_CERTSTORE_H_ */
```

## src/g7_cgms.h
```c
/*
 * Output side: the bridge as a standard Bluetooth SIG Continuous Glucose
 * Monitoring Service (0x181F) peripheral, for xDrip+'s "GluPro" collector
 * (xDrip+ libglupro, lwld.glucose.profile.GluProBle, via Nordic's Android BLE
 * library). xDrip+ bonds (Just Works), enables measurement notifications,
 * reads CGM Status to anchor our Time Offset minutes to wall-clock time, and
 * fills gaps itself through the Record Access Control Point.
 */
#ifndef G7_CGMS_H_
#define G7_CGMS_H_

#include "g7_history.h"

/* Starts connectable advertising (service 0x181F). Call after bt_enable(). */
int g7_cgms_init(void);

/*
 * Stops/restarts our advertising around a connection attempt to the G7: with
 * scanning, advertising and the phone link all sharing the radio, the G7's
 * short wake window was often missed ("failed to establish").
 */
void g7_cgms_adv_pause(void);
void g7_cgms_adv_resume(void);

/* Sensor state for CGM Status: session over (stopped/ended/expired), or failed. */
void g7_cgms_set_sensor_state(bool session_ended, bool failed);

/*
 * The sensor clock was (re)learned -- first reading after boot, or another
 * sensor. Reconnects the phone so xDrip+ re-reads CGM Status and its session start.
 */
void g7_cgms_time_changed(void);

/* True while a phone is connected (xDrip+, or only the setup app). */
bool g7_cgms_phone_connected(void);

/* True while the connected phone collects readings: it has used the CGM service. */
bool g7_cgms_collecting(void);

/* Pushes a new live reading to a connected, subscribed phone (no-op otherwise). */
void g7_cgms_notify_reading(const struct g7_record *rec);

#endif /* G7_CGMS_H_ */
```

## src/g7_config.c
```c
#include "g7_config.h"

#include <errno.h>
#include <string.h>

#include <zephyr/settings/settings.h>

static char stored_id[G7_CONFIG_ID_MAX_LEN + 1];
static char stored_code[G7_CONFIG_CODE_MAX_LEN + 1];

/* Session key and the sensor address it was negotiated with. */
static struct __packed {
	bt_addr_le_t addr;
	uint8_t key[G7_CONFIG_KEY_LEN];
} stored_key;
static bool have_key;

/* Session parameters of the sensor at `addr` (survive reboots). */
static struct __packed {
	bt_addr_le_t addr;
	struct g7_session_info info;
} stored_session;
static bool have_session;

static int read_string(char *dst, size_t max_len, size_t len, settings_read_cb read_cb,
		       void *cb_arg)
{
	if (len > max_len) {
		return -EINVAL;
	}

	ssize_t rc = read_cb(cb_arg, dst, len);

	if (rc < 0) {
		return rc;
	}

	dst[len] = '\0';
	return 0;
}

static int g7cfg_set(const char *name, size_t len, settings_read_cb read_cb, void *cb_arg)
{
	const char *next;

	if (settings_name_steq(name, "id", &next) && !next) {
		return read_string(stored_id, G7_CONFIG_ID_MAX_LEN, len, read_cb, cb_arg);
	}
	if (settings_name_steq(name, "code", &next) && !next) {
		return read_string(stored_code, G7_CONFIG_CODE_MAX_LEN, len, read_cb, cb_arg);
	}
	if (settings_name_steq(name, "sess", &next) && !next) {
		if (len != sizeof(stored_session)) {
			return -EINVAL;
		}

		ssize_t rc = read_cb(cb_arg, &stored_session, len);

		have_session = rc == sizeof(stored_session);
		return rc < 0 ? rc : 0;
	}
	if (settings_name_steq(name, "key", &next) && !next) {
		if (len != sizeof(stored_key)) {
			have_key = false;
			return len == 0 ? 0 : -EINVAL;
		}

		ssize_t rc = read_cb(cb_arg, &stored_key, len);

		have_key = rc == sizeof(stored_key);
		return rc < 0 ? rc : 0;
	}
	return -ENOENT;
}

SETTINGS_STATIC_HANDLER_DEFINE(g7cfg, "g7cfg", NULL, g7cfg_set, NULL, NULL);

const char *g7_config_get_id(void)
{
	return stored_id;
}

int g7_config_set_id(const char *id)
{
	size_t len = strlen(id);

	if (len > G7_CONFIG_ID_MAX_LEN) {
		return -EINVAL;
	}

	memcpy(stored_id, id, len + 1);

	return settings_save_one("g7cfg/id", stored_id, len);
}

const char *g7_config_get_code(void)
{
	return stored_code;
}

int g7_config_set_code(const char *code)
{
	size_t len = strlen(code);

	if (len != 0 && len != 4 && len != 6) {
		return -EINVAL;
	}
	for (size_t i = 0; i < len; i++) {
		if (code[i] < '0' || code[i] > '9') {
			return -EINVAL;
		}
	}

	memcpy(stored_code, code, len + 1);

	int err = settings_save_one("g7cfg/code", stored_code, len);

	return err;
}

bool g7_config_get_key(const bt_addr_le_t *addr, uint8_t key[G7_CONFIG_KEY_LEN])
{
	if (!have_key || !bt_addr_le_eq(addr, &stored_key.addr)) {
		return false;
	}
	memcpy(key, stored_key.key, G7_CONFIG_KEY_LEN);
	return true;
}

bool g7_config_get_key_addr(bt_addr_le_t *addr)
{
	if (have_key) {
		bt_addr_le_copy(addr, &stored_key.addr);
	}
	return have_key;
}

int g7_config_set_key(const bt_addr_le_t *addr, const uint8_t key[G7_CONFIG_KEY_LEN])
{
	bt_addr_le_copy(&stored_key.addr, addr);
	memcpy(stored_key.key, key, G7_CONFIG_KEY_LEN);
	have_key = true;
	return settings_save_one("g7cfg/key", &stored_key, sizeof(stored_key));
}

bool g7_config_get_session(const bt_addr_le_t *addr, struct g7_session_info *out)
{
	if (!have_session || !bt_addr_le_eq(addr, &stored_session.addr)) {
		return false;
	}
	*out = stored_session.info;
	return true;
}

static void session_for(const bt_addr_le_t *addr)
{
	if (!have_session || !bt_addr_le_eq(addr, &stored_session.addr)) {
		memset(&stored_session, 0, sizeof(stored_session));
		bt_addr_le_copy(&stored_session.addr, addr);
		have_session = true;
	}
}

int g7_config_set_session_length(const bt_addr_le_t *addr, uint32_t length_s, uint16_t warmup_s)
{
	session_for(addr);
	stored_session.info.length_s = length_s;
	stored_session.info.warmup_s = warmup_s;
	return settings_save_one("g7cfg/sess", &stored_session, sizeof(stored_session));
}

int g7_config_set_session_start(const bt_addr_le_t *addr, int64_t start_utc_s)
{
	session_for(addr);
	stored_session.info.start_utc_s = start_utc_s;
	return settings_save_one("g7cfg/sess", &stored_session, sizeof(stored_session));
}

int g7_config_clear_key(void)
{
	have_key = false;
	return settings_delete("g7cfg/key");
}
```

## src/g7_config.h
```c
/*
 * Persisted bridge configuration: which specific G7 sensor to connect to, its
 * applicator pairing code, and the session key negotiated with it.
 *
 * The board advertises with a GAP name like "DXCM01" -- multiple sensors
 * (yours, a neighbour's, a leftover old one) can be in range at once, so we
 * must not just grab the first thing that looks like a G7. Until a sensor id
 * is configured, the bridge only *logs* candidates and refuses to connect.
 */
#ifndef G7_CONFIG_H_
#define G7_CONFIG_H_

#include <stdbool.h>
#include <stdint.h>

#include <zephyr/bluetooth/addr.h>

#define G7_CONFIG_ID_MAX_LEN   8
#define G7_CONFIG_CODE_MAX_LEN 6
#define G7_CONFIG_KEY_LEN      16

/* Currently configured suffix to match against the tail of the GAP name, or
 * "" if none is set yet (bridge will not auto-connect to anything).
 */
const char *g7_config_get_id(void);

/* Sets and persists (survives reboot) the sensor id filter. Pass "" to clear
 * it. Returns 0 on success, -EINVAL if id is too long, or a settings error.
 */
int g7_config_set_id(const char *id);

/* 4-digit applicator pairing code (6 for Dexcom ONE+), or "" if not set. */
const char *g7_config_get_code(void);

/* Sets and persists the pairing code. Pass "" to clear. Session keys are kept:
 * they belong to a sensor address, and a sensor that is already paired only
 * accepts the key from its full pairing (see G7_AUTH_NEEDS_REPAIR).
 */
int g7_config_set_code(const char *code);

/* Copies the EC-JPAKE session key saved for `addr` into `key`. Returns false
 * if there is none (or it belongs to another sensor).
 */
bool g7_config_get_key(const bt_addr_le_t *addr, uint8_t key[G7_CONFIG_KEY_LEN]);

/* Address of the sensor the saved session key belongs to; false if none. */
bool g7_config_get_key_addr(bt_addr_le_t *addr);

/* Saves the session key for `addr`, replacing any previous one. */
int g7_config_set_key(const bt_addr_le_t *addr, const uint8_t key[G7_CONFIG_KEY_LEN]);

/* What we know about the current sensor's session (kept in flash). */
struct g7_session_info {
	uint32_t length_s;     /* from the G7's 0x52 reply, e.g. 907200 = 10.5 days; 0 = unknown */
	uint16_t warmup_s;
	int64_t start_utc_s;   /* session start, Unix time, learned from the phone; 0 = unknown */
};

/* Session info saved for `addr`; false if nothing is known about this sensor. */
bool g7_config_get_session(const bt_addr_le_t *addr, struct g7_session_info *out);

/* Updates one part of `addr`'s session info (a new sensor starts from scratch). */
int g7_config_set_session_length(const bt_addr_le_t *addr, uint32_t length_s, uint16_t warmup_s);
int g7_config_set_session_start(const bt_addr_le_t *addr, int64_t start_utc_s);

/* Forgets the saved session key. */
int g7_config_clear_key(void);

#endif /* G7_CONFIG_H_ */
```
